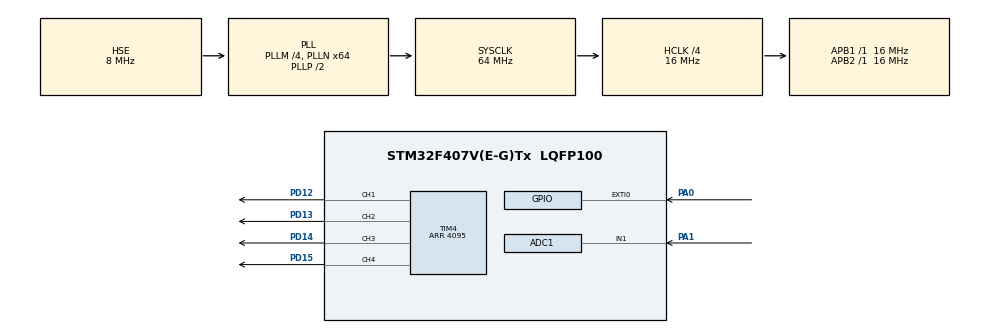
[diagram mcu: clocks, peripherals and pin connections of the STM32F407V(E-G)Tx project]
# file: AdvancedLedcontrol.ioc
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ADC1.Channel-0\#ChannelRegularConversion=ADC_CHANNEL_1
ADC1.ContinuousConvMode=ENABLE
ADC1.DMAContinuousRequests=ENABLE
ADC1.NbrOfConversionFlag=1
ADC1.Rank-0\#ChannelRegularConversion=1
ADC1.SamplingTime-0\#ChannelRegularConversion=ADC_SAMPLETIME_480CYCLES
ADC1.ScanConvMode=ENABLE
ADC1.master=1
Dma.ADC1.0.Direction=DMA_PERIPH_TO_MEMORY
Dma.ADC1.0.FIFOMode=DMA_FIFOMODE_DISABLE
Dma.ADC1.0.Instance=DMA2_Stream0
Dma.ADC1.0.MemDataAlignment=DMA_MDATAALIGN_HALFWORD
Dma.ADC1.0.MemInc=DMA_MINC_ENABLE
Dma.ADC1.0.Mode=DMA_CIRCULAR
Dma.ADC1.0.PeriphDataAlignment=DMA_PDATAALIGN_HALFWORD
Dma.ADC1.0.PeriphInc=DMA_PINC_DISABLE
Dma.ADC1.0.Priority=DMA_PRIORITY_MEDIUM
Dma.Request0=ADC1
Mcu.Family=STM32F4
Mcu.Name=STM32F407V(E-G)Tx
Mcu.Package=LQFP100
NVIC.DMA2_Stream0_IRQn=true\:0\:0\:false\:false\:true\:false\:true\:true
NVIC.EXTI0_IRQn=true\:0\:0\:false\:false\:true\:true\:true\:true
NVIC.PriorityGroup=NVIC_PRIORITYGROUP_4
NVIC.TIM1_UP_TIM10_IRQn=true\:0\:0\:false\:false\:true\:true\:true\:true
PA0-WKUP.GPIO_PuPd=GPIO_PULLDOWN
PA0-WKUP.Signal=GPXTI0
PA1.Signal=ADCx_IN1
PA13.Mode=Serial_Wire
PA13.Signal=SYS_JTMS-SWDIO
PA14.Mode=Serial_Wire
PA14.Signal=SYS_JTCK-SWCLK
PD12.Signal=S_TIM4_CH1
PD13.Signal=S_TIM4_CH2
PD14.Signal=S_TIM4_CH3
PD15.Signal=S_TIM4_CH4
PH0-OSC_IN.Mode=HSE-External-Oscillator
PH0-OSC_IN.Signal=RCC_OSC_IN
PH1-OSC_OUT.Mode=HSE-External-Oscillator
PH1-OSC_OUT.Signal=RCC_OSC_OUT
ProjectManager.HeapSize=0x200
ProjectManager.StackSize=0x400
ProjectManager.TargetToolchain=STM32CubeIDE
RCC.48MHZClocksFreq_Value=32000000
RCC.AHBCLKDivider=RCC_SYSCLK_DIV4
RCC.AHBFreq_Value=16000000
RCC.APB1Freq_Value=16000000
RCC.APB1TimFreq_Value=16000000
RCC.APB2Freq_Value=16000000
RCC.APB2TimFreq_Value=16000000
RCC.CortexFreq_Value=16000000
RCC.EnbaleCSS=true
RCC.HCLKFreq_Value=16000000
RCC.HSE_VALUE=8000000
RCC.HSI_VALUE=16000000
RCC.LSE_VALUE=32768
RCC.PLLM=4
RCC.PLLN=64
RCC.PLLSourceVirtual=RCC_PLLSOURCE_HSE
RCC.SYSCLKFreq_VALUE=64000000
RCC.SYSCLKSource=RCC_SYSCLKSOURCE_PLLCLK
RCC.VCOOutputFreq_Value=128000000
SH.ADCx_IN1.0=ADC1_IN1,IN1
SH.S_TIM4_CH1.0=TIM4_CH1,PWM Generation1 CH1
SH.S_TIM4_CH2.0=TIM4_CH2,PWM Generation2 CH2
SH.S_TIM4_CH3.0=TIM4_CH3,PWM Generation3 CH3
SH.S_TIM4_CH4.0=TIM4_CH4,PWM Generation4 CH4
TIM1.Period=999
TIM1.Prescaler=159
TIM4.Channel-PWM\ Generation1\ CH1=TIM_CHANNEL_1
TIM4.Channel-PWM\ Generation2\ CH2=TIM_CHANNEL_2
TIM4.Channel-PWM\ Generation3\ CH3=TIM_CHANNEL_3
TIM4.Channel-PWM\ Generation4\ CH4=TIM_CHANNEL_4
TIM4.Period=4095
VP_TIM1_VS_ClockSourceINT.Mode=Internal
VP_TIM4_VS_ClockSourceINT.Mode=Internal
board=custom

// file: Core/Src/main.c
/* USER CODE BEGIN Header */
/**
 ******************************************************************************
 * @file           : main.c
 * @brief          : Main program body
 ******************************************************************************
 * @attention
 *
 * Copyright (c) 2026 STMicroelectronics.
 * All rights reserved.
 *
 * This software is licensed under terms that can be found in the LICENSE file
 * in the root directory of this software component.
 * If no LICENSE file comes with this software, it is provided AS-IS.
 *
 ******************************************************************************
 */
/* USER CODE END Header */
#include "main.h"

ADC_HandleTypeDef hadc1;
DMA_HandleTypeDef hdma_adc1;

TIM_HandleTypeDef htim1;
TIM_HandleTypeDef htim4;

/* USER CODE BEGIN PV */

volatile uint8_t buttonStat = 0;
volatile uint32_t buttonLastPressTime = 0;
volatile uint16_t adcVal = 0;
volatile uint16_t filteredAdcVal = 0;
volatile uint16_t lineeredAdcVal = 0;

uint8_t isLedOn = 1;

/* USER CODE END PV */

void SystemClock_Config(void);
static void MX_GPIO_Init(void);
static void MX_DMA_Init(void);
static void MX_ADC1_Init(void);
static void MX_TIM1_Init(void);
static void MX_TIM4_Init(void);

/* USER CODE BEGIN 0 */

void LedToggleTimer(uint8_t bStat) {

	static uint32_t ledLastToggleTime = 0;

	uint32_t timeInterval = 300;

	//ENUMLA BUTONA EKLEYE BURASDAN KALDIR
	if (bStat == 0)
		timeInterval = 300;

	else if (bStat == 1)
		timeInterval = 500;

	else if (bStat == 2)
		timeInterval = 1000;

	if ((HAL_GetTick() - ledLastToggleTime) >= timeInterval) {
		isLedOn = (isLedOn + 1) % 2;
		ledLastToggleTime = HAL_GetTick();
	}
}

void SetLEDBrightness(uint16_t brightness) {

	__HAL_TIM_SET_COMPARE(&htim4, TIM_CHANNEL_1, brightness);
	__HAL_TIM_SET_COMPARE(&htim4, TIM_CHANNEL_2, brightness);
	__HAL_TIM_SET_COMPARE(&htim4, TIM_CHANNEL_3, brightness);
	__HAL_TIM_SET_COMPARE(&htim4, TIM_CHANNEL_4, brightness);

}

void LEDControl(uint16_t brightness) {
	if (isLedOn == 0) {
		SetLEDBrightness((uint16_t) 0);
		return;
	}

	if (brightness > 4050) {
		brightness = 4095;
	}

	else if (brightness < 45) {
		brightness = 0;
	}

	SetLEDBrightness(brightness);
}

uint16_t LineerBrightness(uint16_t oldValue) {

	uint32_t newValue = ((uint32_t)oldValue * oldValue) >> 12;

	return (uint16_t)newValue;
}

uint16_t EmaFilter(uint16_t oldVal){ //float

	static uint32_t filteredVal = 0;
	static uint8_t firstRead = 1;

	uint8_t alpha = 5;

	if(firstRead == 1){
		filteredVal = oldVal * 100;
		firstRead = 0;
	}

	else{
		filteredVal = ((alpha * oldVal * 100) + (100-alpha) * filteredVal) /100;
	}

	return (uint16_t) (filteredVal / 100);
}

/* USER CODE END 0 */

int main(void)
{

  /* MCU Configuration--------------------------------------------------------*/

  /* Reset of all peripherals, Initializes the Flash interface and the Systick. */
  HAL_Init();

  /* Configure the system clock */
  SystemClock_Config();

  /* Initialize all configured peripherals */
  MX_GPIO_Init();
  MX_DMA_Init();
  MX_ADC1_Init();
  MX_TIM1_Init();
  MX_TIM4_Init();
  /* USER CODE BEGIN 2 */

	HAL_TIM_Base_Start_IT(&htim1);

	HAL_TIM_PWM_Start(&htim4, TIM_CHANNEL_1);
	HAL_TIM_PWM_Start(&htim4, TIM_CHANNEL_2);
	HAL_TIM_PWM_Start(&htim4, TIM_CHANNEL_3);
	HAL_TIM_PWM_Start(&htim4, TIM_CHANNEL_4);

	HAL_ADC_Start_DMA(&hadc1, (uint32_t *)&adcVal, 1);

  /* USER CODE END 2 */

  /* Infinite loop */
	while (1) {

    /* USER CODE BEGIN 3 */

	LedToggleTimer(buttonStat);
	LEDControl(lineeredAdcVal);

	}
  /* USER CODE END 3 */
}

void SystemClock_Config(void)
{
  RCC_OscInitTypeDef RCC_OscInitStruct = {0};
  RCC_ClkInitTypeDef RCC_ClkInitStruct = {0};

  /** Configure the main internal regulator output voltage
  */
  __HAL_RCC_PWR_CLK_ENABLE();
  __HAL_PWR_VOLTAGESCALING_CONFIG(PWR_REGULATOR_VOLTAGE_SCALE1);

  /** Initializes the RCC Oscillators according to the specified parameters
  * in the RCC_OscInitTypeDef structure.
  */
  RCC_OscInitStruct.OscillatorType = RCC_OSCILLATORTYPE_HSE;
  RCC_OscInitStruct.HSEState = RCC_HSE_ON;
  RCC_OscInitStruct.PLL.PLLState = RCC_PLL_ON;
  RCC_OscInitStruct.PLL.PLLSource = RCC_PLLSOURCE_HSE;
  RCC_OscInitStruct.PLL.PLLM = 4;
  RCC_OscInitStruct.PLL.PLLN = 64;
  RCC_OscInitStruct.PLL.PLLP = RCC_PLLP_DIV2;
  RCC_OscInitStruct.PLL.PLLQ = 4;
  if (HAL_RCC_OscConfig(&RCC_OscInitStruct) != HAL_OK)
  {
    Error_Handler();
  }

  /** Initializes the CPU, AHB and APB buses clocks
  */
  RCC_ClkInitStruct.ClockType = RCC_CLOCKTYPE_HCLK|RCC_CLOCKTYPE_SYSCLK
                              |RCC_CLOCKTYPE_PCLK1|RCC_CLOCKTYPE_PCLK2;
  RCC_ClkInitStruct.SYSCLKSource = RCC_SYSCLKSOURCE_PLLCLK;
  RCC_ClkInitStruct.AHBCLKDivider = RCC_SYSCLK_DIV4;
  RCC_ClkInitStruct.APB1CLKDivider = RCC_HCLK_DIV1;
  RCC_ClkInitStruct.APB2CLKDivider = RCC_HCLK_DIV1;

  if (HAL_RCC_ClockConfig(&RCC_ClkInitStruct, FLASH_LATENCY_0) != HAL_OK)
  {
    Error_Handler();
  }

  /** Enables the Clock Security System
  */
  HAL_RCC_EnableCSS();
}

static void MX_ADC1_Init(void)
{

  ADC_ChannelConfTypeDef sConfig = {0};

  /** Configure the global features of the ADC (Clock, Resolution, Data Alignment and number of conversion)
  */
  hadc1.Instance = ADC1;
  hadc1.Init.ClockPrescaler = ADC_CLOCK_SYNC_PCLK_DIV2;
  hadc1.Init.Resolution = ADC_RESOLUTION_12B;
  hadc1.Init.ScanConvMode = ENABLE;
  hadc1.Init.ContinuousConvMode = ENABLE;
  hadc1.Init.DiscontinuousConvMode = DISABLE;
  hadc1.Init.ExternalTrigConvEdge = ADC_EXTERNALTRIGCONVEDGE_NONE;
  hadc1.Init.ExternalTrigConv = ADC_SOFTWARE_START;
  hadc1.Init.DataAlign = ADC_DATAALIGN_RIGHT;
  hadc1.Init.NbrOfConversion = 1;
  hadc1.Init.DMAContinuousRequests = ENABLE;
  hadc1.Init.EOCSelection = ADC_EOC_SINGLE_CONV;
  if (HAL_ADC_Init(&hadc1) != HAL_OK)
  {
    Error_Handler();
  }

  /** Configure for the selected ADC regular channel its corresponding rank in the sequencer and its sample time.
  */
  sConfig.Channel = ADC_CHANNEL_1;
  sConfig.Rank = 1;
  sConfig.SamplingTime = ADC_SAMPLETIME_480CYCLES;
  if (HAL_ADC_ConfigChannel(&hadc1, &sConfig) != HAL_OK)
  {
    Error_Handler();
  }

}

static void MX_TIM1_Init(void)
{

  TIM_ClockConfigTypeDef sClockSourceConfig = {0};
  TIM_MasterConfigTypeDef sMasterConfig = {0};

  htim1.Instance = TIM1;
  htim1.Init.Prescaler = 159;
  htim1.Init.CounterMode = TIM_COUNTERMODE_UP;
  htim1.Init.Period = 999;
  htim1.Init.ClockDivision = TIM_CLOCKDIVISION_DIV1;
  htim1.Init.RepetitionCounter = 0;
  htim1.Init.AutoReloadPreload = TIM_AUTORELOAD_PRELOAD_DISABLE;
  if (HAL_TIM_Base_Init(&htim1) != HAL_OK)
  {
    Error_Handler();
  }
  sClockSourceConfig.ClockSource = TIM_CLOCKSOURCE_INTERNAL;
  if (HAL_TIM_ConfigClockSource(&htim1, &sClockSourceConfig) != HAL_OK)
  {
    Error_Handler();
  }
  sMasterConfig.MasterOutputTrigger = TIM_TRGO_RESET;
  sMasterConfig.MasterSlaveMode = TIM_MASTERSLAVEMODE_DISABLE;
  if (HAL_TIMEx_MasterConfigSynchronization(&htim1, &sMasterConfig) != HAL_OK)
  {
    Error_Handler();
  }

}

static void MX_TIM4_Init(void)
{

  TIM_ClockConfigTypeDef sClockSourceConfig = {0};
  TIM_MasterConfigTypeDef sMasterConfig = {0};
  TIM_OC_InitTypeDef sConfigOC = {0};

  htim4.Instance = TIM4;
  htim4.Init.Prescaler = 0;
  htim4.Init.CounterMode = TIM_COUNTERMODE_UP;
  htim4.Init.Period = 4095;
  htim4.Init.ClockDivision = TIM_CLOCKDIVISION_DIV1;
  htim4.Init.AutoReloadPreload = TIM_AUTORELOAD_PRELOAD_DISABLE;
  if (HAL_TIM_Base_Init(&htim4) != HAL_OK)
  {
    Error_Handler();
  }
  sClockSourceConfig.ClockSource = TIM_CLOCKSOURCE_INTERNAL;
  if (HAL_TIM_ConfigClockSource(&htim4, &sClockSourceConfig) != HAL_OK)
  {
    Error_Handler();
  }
  if (HAL_TIM_PWM_Init(&htim4) != HAL_OK)
  {
    Error_Handler();
  }
  sMasterConfig.MasterOutputTrigger = TIM_TRGO_RESET;
  sMasterConfig.MasterSlaveMode = TIM_MASTERSLAVEMODE_DISABLE;
  if (HAL_TIMEx_MasterConfigSynchronization(&htim4, &sMasterConfig) != HAL_OK)
  {
    Error_Handler();
  }
  sConfigOC.OCMode = TIM_OCMODE_PWM1;
  sConfigOC.Pulse = 0;
  sConfigOC.OCPolarity = TIM_OCPOLARITY_HIGH;
  sConfigOC.OCFastMode = TIM_OCFAST_DISABLE;
  if (HAL_TIM_PWM_ConfigChannel(&htim4, &sConfigOC, TIM_CHANNEL_1) != HAL_OK)
  {
    Error_Handler();
  }
  if (HAL_TIM_PWM_ConfigChannel(&htim4, &sConfigOC, TIM_CHANNEL_2) != HAL_OK)
  {
    Error_Handler();
  }
  if (HAL_TIM_PWM_ConfigChannel(&htim4, &sConfigOC, TIM_CHANNEL_3) != HAL_OK)
  {
    Error_Handler();
  }
  if (HAL_TIM_PWM_ConfigChannel(&htim4, &sConfigOC, TIM_CHANNEL_4) != HAL_OK)
  {
    Error_Handler();
  }
  HAL_TIM_MspPostInit(&htim4);

}

static void MX_DMA_Init(void)
{

  /* DMA controller clock enable */
  __HAL_RCC_DMA2_CLK_ENABLE();

  /* DMA interrupt init */
  /* DMA2_Stream0_IRQn interrupt configuration */
  HAL_NVIC_SetPriority(DMA2_Stream0_IRQn, 0, 0);
  HAL_NVIC_EnableIRQ(DMA2_Stream0_IRQn);

}

static void MX_GPIO_Init(void)
{
  GPIO_InitTypeDef GPIO_InitStruct = {0};

  /* GPIO Ports Clock Enable */
  __HAL_RCC_GPIOH_CLK_ENABLE();
  __HAL_RCC_GPIOA_CLK_ENABLE();
  __HAL_RCC_GPIOD_CLK_ENABLE();

  /*Configure GPIO pin : PA0 */
  GPIO_InitStruct.Pin = GPIO_PIN_0;
  GPIO_InitStruct.Mode = GPIO_MODE_IT_RISING;
  GPIO_InitStruct.Pull = GPIO_PULLDOWN;
  HAL_GPIO_Init(GPIOA, &GPIO_InitStruct);

  /* EXTI interrupt init*/
  HAL_NVIC_SetPriority(EXTI0_IRQn, 0, 0);
  HAL_NVIC_EnableIRQ(EXTI0_IRQn);

}

/* USER CODE BEGIN 4 */

//IR TOGGLE BUTTON STATUE
void HAL_GPIO_EXTI_Callback(uint16_t GPIO_Pin) {

	if (GPIO_Pin == GPIO_PIN_0) {

		if ((HAL_GetTick() - buttonLastPressTime) > 250) {

			//Toggle button statue
			buttonStat = (buttonStat + 1) % 3;
			buttonLastPressTime = now;
		}
	}
}

//IR 10ms TIMER
void HAL_TIM_PeriodElapsedCallback(TIM_HandleTypeDef *htim) {

	filteredAdcVal = EmaFilter(adcVal);
	lineeredAdcVal = LineerBrightness(filteredAdcVal);

}

/* USER CODE END 4 */

void Error_Handler(void)
{
	__disable_irq();
	while (1) {
	}
}
